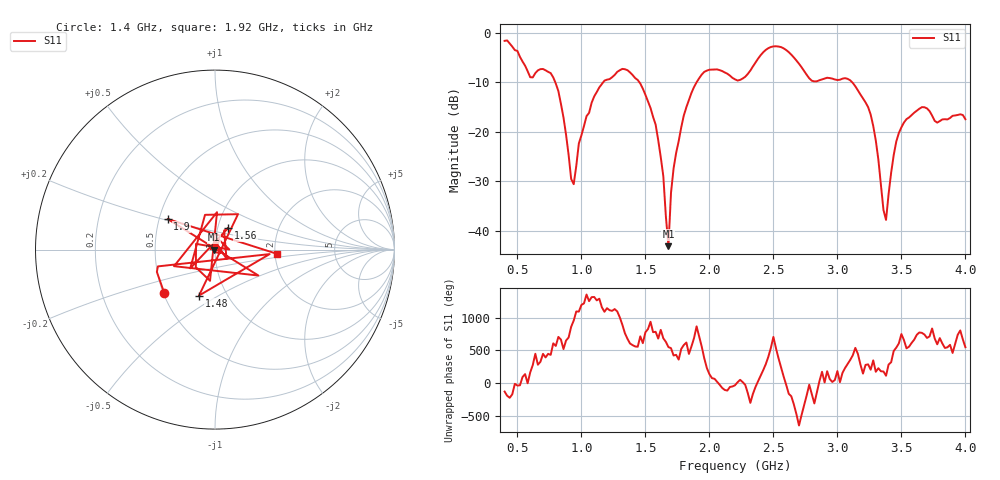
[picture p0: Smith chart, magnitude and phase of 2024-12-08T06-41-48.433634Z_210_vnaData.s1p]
!Created with skrf (http://scikit-rf.org).
# Hz S RI R 50.0
!freq ReS11 ImS11
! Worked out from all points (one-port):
!   181 points, 400 MHz to 4 GHz, reference 50 ohm
!   lowest |S11| = -43.1 dB at 1.68 GHz (marker M1), VSWR 1.01, Z = 49.3 - j0.128 ohm
!   |S11| at or under -10 dB: 795.2 MHz to 1.171 GHz (376.3 MHz wide, 38.3 % of centre); 1.452 GHz to 1.901 GHz (449.4 MHz wide, 26.8 % of centre); 3.114 GHz to end of sweep
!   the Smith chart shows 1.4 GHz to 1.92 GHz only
!   S11 on the Smith chart (normalised r, x): 1.4 GHz: 0.51, -0.28; 1.48 GHz: 0.74, -0.41; 1.56 GHz: 1.12, +0.28; 1.9 GHz: 0.55, +0.21; 1.92 GHz: 2.05, -0.11
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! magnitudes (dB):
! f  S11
! 400 MHz  -1.7
! 600 MHz  -9.0
! 760 MHz  -8.2
! 860 MHz  -17.2
! 920 MHz  -29.6
! 940 MHz  -30.6
! 980 MHz  -22.4
! 1.08 GHz  -14.2
! 1.3 GHz  -7.6
! 1.4 GHz  -8.6
! 1.48 GHz  -11.3
! 1.56 GHz  -17.0
! 1.64 GHz  -29.0
! 1.68 GHz  -43.1
! 1.7 GHz  -32.4
! 1.76 GHz  -21.9
! 1.9 GHz  -10.0
! 1.92 GHz  -9.2
! 2.2 GHz  -9.5
! 2.48 GHz  -2.9
! 2.66 GHz  -5.0
! 2.8 GHz  -9.7
! 3.1 GHz  -9.6
! 3.26 GHz  -16.6
! 3.38 GHz  -37.8
! 3.46 GHz  -22.0
! 3.56 GHz  -17.1
! 4 GHz  -17.5
